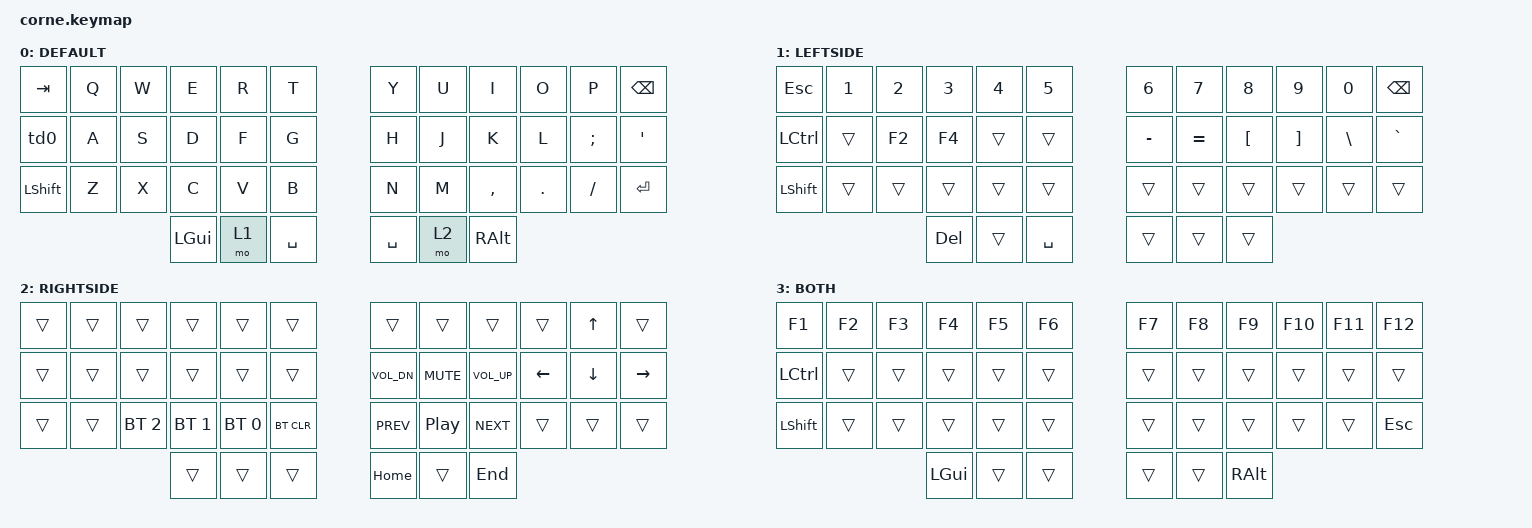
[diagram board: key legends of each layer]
/*
 * Copyright (c) 2020 The ZMK Contributors
 *
 * SPDX-License-Identifier: MIT
 */

#include <behaviors.dtsi>
#include <dt-bindings/zmk/keys.h>
#include <dt-bindings/zmk/bt.h>

#define DEFAULT         0
#define LEFTSIDE        1
#define RIGHTSIDE       2
#define BOTH            3

/ {
        conditional_layers {        
                compatible = "zmk,conditional-layers";        
                tri_layer {            
                        if-layers = <1 2>;            
                        then-layer = <3>;        
                };    
        };

        behaviors {
            td0: tap_dance_0 {
                compatible = "zmk,behavior-tap-dance";
                #binding-cells = <0>;
                tapping-term-ms = <200>;
                bindings = <&kp LCTRL>, <&kp CAPSLOCK>;
            };
        };

        keymap {
                compatible = "zmk,keymap";

                DEFAULT {
// -----------------------------------------------------------------------------------------
// | TAB  |  Q  |  W  |  E  |  R  |  T  |   |  Y  |  U  |  I  |  O  |  P  | BKSP |
// | LCTRL|  A  |  S  |  D  |  F  |  G  |   |  H  |  J  |  K  |  L  |  ;  |  '   |
// | SHFT |  Z  |  X  |  C  |  V  |  B  |   |  N  |  M  |  ,  |  .  |  /  | ENT  |
//                    | GUI |LEFT |SPACE|   |SPACE|RIGHT|RALT |
                        bindings = <
   &kp TAB   &kp Q   &kp W   &kp E   &kp R  &kp T      &kp Y     &kp U  &kp I      &kp O    &kp P     &kp BSPC
   &td0      &kp A   &kp S   &kp D   &kp F  &kp G      &kp H     &kp J  &kp K      &kp L    &kp SEMI  &kp SQT
   &kp LSHFT &kp Z   &kp X   &kp C   &kp V  &kp B      &kp N     &kp M  &kp COMMA  &kp DOT  &kp FSLH  &kp RET
                             &kp LGUI &mo 1  &kp SPACE  &kp SPACE &mo 2  &kp RALT
                        >;
                };
                LEFTSIDE {
// -----------------------------------------------------------------------------------------
// | ESC  |  1  |  2  |  3  |  4  |  5  |   |  6  |  7  |  8  |  9  |  0  | BKSP |
// | CTRL |     | F2  | F4  |     |     |   |  -  |  =  |  [  |  ]  |  \  |  `   |
// | SHFT |     |     |     |     |     |   |     |     |     |     |     |      |
//                    | DEL | VVV | SPC |   |     |     |     |
                        bindings = <
   &kp ESC    &kp N1    &kp N2  &kp N3    &kp N4    &kp N5        &kp N6     &kp N7     &kp N8    &kp N9    &kp N0    &kp BSPC
   &kp LCTRL  &trans    &kp F2  &kp F4    &trans    &trans        &kp MINUS  &kp EQUAL  &kp LBKT  &kp RBKT  &kp BSLH  &kp GRAVE
   &kp LSHFT  &trans    &trans  &trans    &trans    &trans        &trans     &trans     &trans    &trans    &trans    &trans
                    	        &kp DEL   &trans    &kp SPACE     &trans     &trans     &trans
                        >;
                };
                RIGHTSIDE {
// -----------------------------------------------------------------------------------------
// |     |     |     |     |     |     |   |     |     |     |     | UP  |     |
// |     |     |     |     |     |     |   |VOL- |MUTE |VOL+ |LEFT |DOWN |RIGHT|
// |     |     | BT2 | BT1 | BT0 |BTCLR|   |PREV |PLAY |NEXT |     |     |     |
//                   |     |     |     |   |HOME | VVV | END |
                        bindings = <
   &trans       &trans        &trans        &trans        &trans        &trans          &trans        &trans        &trans        &trans      &kp UP      &trans
   &trans       &trans        &trans        &trans        &trans        &trans          &kp C_VOL_DN  &kp C_MUTE    &kp C_VOL_UP  &kp LEFT    &kp DOWN    &kp RIGHT
   &trans       &trans        &bt BT_SEL 2  &bt BT_SEL 1  &bt BT_SEL 0  &bt BT_CLR      &kp C_PREV    &kp C_PP      &kp C_NEXT    &trans      &trans      &trans
                                            &trans        &trans        &trans          &kp HOME      &trans        &kp END
                        >;
                };
                BOTH {
// -----------------------------------------------------------------------------------------
// | F1  | F2  | F3  | F4  | F5  | F6  |   | F7  | F8  | F9  | F10 | F11 | F12 |
// |LCTRL|     |     |     |     |     |   |     |     |     |     |     |     |
// |SHIFT|     |     |     |     |     |   |     |     |     |     |     | ESC |
//                   | GUI | VVV |     |   |     | VVV |RALT |
                        bindings = <
   &kp F1    &kp F2    &kp F3    &kp F4    &kp F5    &kp F6       &kp F7    &kp F8    &kp F9    &kp F10   &kp F11   &kp F12
   &kp LCTRL &trans    &trans    &trans    &trans    &trans       &trans    &trans    &trans    &trans    &trans    &trans
   &kp LSHFT &trans    &trans    &trans    &trans    &trans       &trans    &trans    &trans    &trans    &trans    &kp ESC
                                 &kp LGUI  &trans    &trans       &trans    &trans    &kp RALT   
                        >;
                };
        };
};
